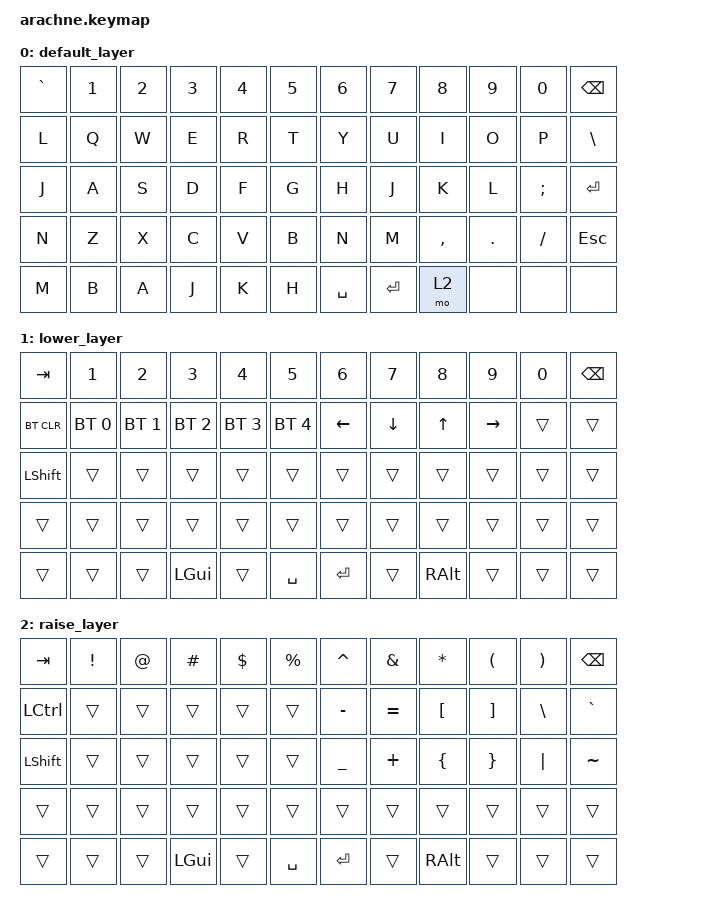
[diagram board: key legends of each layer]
/*
 * Copyright (c) 2020 The ZMK Contributors
 *
 * SPDX-License-Identifier: MIT
 */

#include <behaviors.dtsi>
#include <dt-bindings/zmk/keys.h>
#include <dt-bindings/zmk/bt.h>
#include "arachne.dtsi"

/ {
        keymap {
                compatible = "zmk,keymap";

                default_layer {
// -----------------------------------------------------------------------------------------
// |  `  |  1  |  2  |  3  |  4  |  5  |   |  6  |  7   |  8  |  9  |  0  | BSPC |
// | TAB |  Q  |  W  |  E  |  R  |  T  |   |  Y  |  U   |  I  |  O  |  P  | \    |
// |     |  A  |  S  |  D  |  F  |  G  |   |  H  |  J   |  K  |  L  |  ;  |  ENT |
// | SHFT|  Z  |  X  |  C  |  V  |  B  |   |  N  |  M   |  ,  |  .  |  /  | ESC  |
// | CTRL| GUI |     | LWR | ALT | SPC |   | SPC | ENT  | RSE |     |     |      |
                        bindings = <
   &kp GRAVE &kp N1   &kp N2 &kp N3   &kp N4 &kp N5    &kp N6    &kp N7  &kp N8    &kp N9  &kp N0   &kp BSPC
   &kp L     &kp Q    &kp W  &kp E    &kp R  &kp T     &kp Y     &kp U   &kp I     &kp O   &kp P    &kp BSLH
   &kp J     &kp A    &kp S  &kp D    &kp F  &kp G     &kp H     &kp J   &kp K     &kp L   &kp SEMI &kp RET
   &kp N     &kp Z    &kp X  &kp C    &kp V  &kp B     &kp N     &kp M   &kp COMMA &kp DOT &kp FSLH &kp ESC
   &kp M     &kp B    &kp A  &kp J    &kp K  &kp H     &kp SPACE &kp RET &mo 2     &none   &none    &none
                        >;
                };

                lower_layer {
// -----------------------------------------------------------------------------------------
// | TAB |  1  |  2  |  3  |  4  |  5  |   |  6  |  7  |  8  |  9  |  0  | BSPC |
// | BTCLR| BT1 | BT2 | BT3 | BT4 | BT5 |   | LFT | DWN |  UP | RGT |     |      |
// | SHFT |     |     |     |     |     |   |     |     |     |     |     |      |
//                    | GUI |     | SPC |   | ENT |     | ALT |
                        bindings = <
   &kp TAB    &kp N1       &kp N2       &kp N3       &kp N4       &kp N5         &kp N6   &kp N7   &kp N8 &kp N9    &kp N0 &kp BSPC
   &bt BT_CLR &bt BT_SEL 0 &bt BT_SEL 1 &bt BT_SEL 2 &bt BT_SEL 3 &bt BT_SEL 4   &kp LEFT &kp DOWN &kp UP &kp RIGHT &trans &trans
   &kp LSHFT  &trans       &trans       &trans       &trans       &trans         &trans   &trans   &trans &trans    &trans &trans
   &trans     &trans       &trans       &trans       &trans       &trans         &trans   &trans   &trans &trans    &trans &trans
   &trans     &trans       &trans       &kp LGUI     &trans       &kp SPACE      &kp RET  &trans   &kp RALT &trans  &trans &trans
                        >;
                };

                raise_layer {
// -----------------------------------------------------------------------------------------
// | TAB |  !  |  @  |  #  |  $  |  %  |   |  ^  |  &  |  *  |  (  |  )  | BSPC |
// | CTRL|     |     |     |     |     |   |  -  |  =  |  [  |  ]  |  \  |  `   |
// | SHFT|     |     |     |     |     |   |  _  |  +  |  {  |  }  | "|" |  ~   |
//                    | GUI |     | SPC |   | ENT |     | ALT |
                        bindings = <
   &kp TAB   &kp EXCL &kp AT &kp HASH &kp DLLR &kp PRCNT   &kp CARET &kp AMPS  &kp ASTRK &kp LPAR &kp RPAR &kp BSPC
   &kp LCTRL &trans   &trans &trans   &trans   &trans      &kp MINUS &kp EQUAL &kp LBKT  &kp RBKT &kp BSLH &kp GRAVE
   &kp LSHFT &trans   &trans &trans   &trans   &trans      &kp UNDER &kp PLUS  &kp LBRC  &kp RBRC &kp PIPE &kp TILDE
   &trans    &trans   &trans &trans   &trans   &trans      &trans    &trans    &trans    &trans   &trans   &trans
   &trans    &trans   &trans &kp LGUI &trans   &kp SPACE   &kp RET   &trans    &kp RALT  &trans   &trans   &trans
                        >;
                };
        };
};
